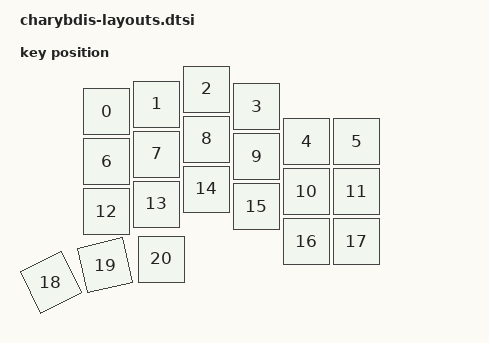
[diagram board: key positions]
#include <physical_layouts.dtsi>

/ {
    charybdis_physical_layout: charybdis_physical_layout {
        compatible = "zmk,physical-layout";
        display-name = "Charybdis Right";
        transform = <&default_transform>;

        keys
            // Row 0
            //                       w   h    x    y     rot    rx    ry
            = <&key_physical_attrs 100 100    0   45       0     0     0>
            , <&key_physical_attrs 100 100  100   30       0     0     0>
            , <&key_physical_attrs 100 100  200    0       0     0     0>
            , <&key_physical_attrs 100 100  300   35       0     0     0>
            , <&key_physical_attrs 100 100  400  105       0     0     0>
            , <&key_physical_attrs 100 100  500  105       0     0     0>
            // Row 1
            , <&key_physical_attrs 100 100    0  145       0     0     0>
            , <&key_physical_attrs 100 100  100  130       0     0     0>
            , <&key_physical_attrs 100 100  200  100       0     0     0>
            , <&key_physical_attrs 100 100  300  135       0     0     0>
            , <&key_physical_attrs 100 100  400  205       0     0     0>
            , <&key_physical_attrs 100 100  500  205       0     0     0>
            // Row 2
            , <&key_physical_attrs 100 100    0  245       0     0     0>
            , <&key_physical_attrs 100 100  100  230       0     0     0>
            , <&key_physical_attrs 100 100  200  200       0     0     0>
            , <&key_physical_attrs 100 100  300  235       0     0     0>
            , <&key_physical_attrs 100 100  400  305       0     0     0>
            , <&key_physical_attrs 100 100  500  305       0     0     0>
            // Thumbs
            , <&key_physical_attrs 100 100  -90  340 (-2600)    50   460>
            , <&key_physical_attrs 100 100    5  330 (-1300)   150   425>
            , <&key_physical_attrs 100 100  110  340       0     0     0>
            ;
    };
};
